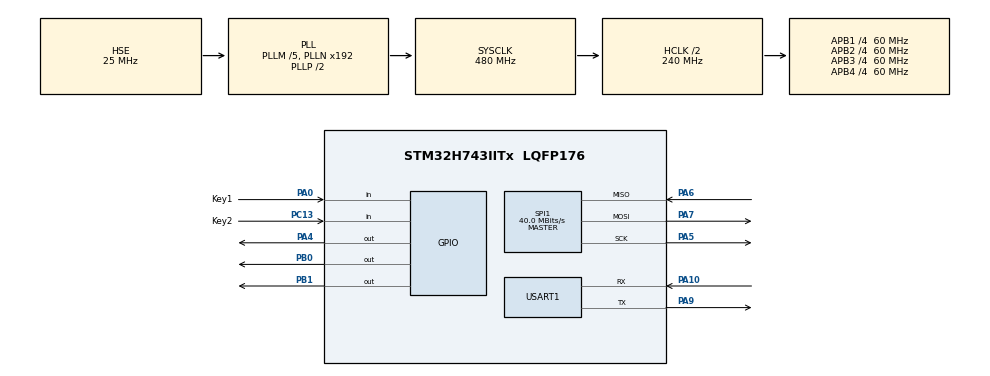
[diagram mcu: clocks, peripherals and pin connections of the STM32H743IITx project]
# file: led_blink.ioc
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CORTEX_M7.default_mode_Activation=1
Dma.Request0=SPI1_TX
Dma.SPI1_TX.0.Direction=DMA_MEMORY_TO_PERIPH
Dma.SPI1_TX.0.EventEnable=DISABLE
Dma.SPI1_TX.0.FIFOMode=DMA_FIFOMODE_DISABLE
Dma.SPI1_TX.0.Instance=DMA1_Stream0
Dma.SPI1_TX.0.MemDataAlignment=DMA_MDATAALIGN_BYTE
Dma.SPI1_TX.0.MemInc=DMA_MINC_ENABLE
Dma.SPI1_TX.0.Mode=DMA_NORMAL
Dma.SPI1_TX.0.PeriphDataAlignment=DMA_PDATAALIGN_BYTE
Dma.SPI1_TX.0.PeriphInc=DMA_PINC_DISABLE
Dma.SPI1_TX.0.Polarity=HAL_DMAMUX_REQ_GEN_RISING
Dma.SPI1_TX.0.Priority=DMA_PRIORITY_LOW
Dma.SPI1_TX.0.RequestNumber=1
Dma.SPI1_TX.0.SignalID=NONE
Dma.SPI1_TX.0.SyncEnable=DISABLE
Dma.SPI1_TX.0.SyncPolarity=HAL_DMAMUX_SYNC_NO_EVENT
Dma.SPI1_TX.0.SyncRequestNumber=1
Dma.SPI1_TX.0.SyncSignalID=NONE
Mcu.Family=STM32H7
Mcu.Name=STM32H743IITx
Mcu.Package=LQFP176
NVIC.DMA1_Stream0_IRQn=true\:0\:0\:false\:false\:true\:false\:true\:true
NVIC.PriorityGroup=NVIC_PRIORITYGROUP_4
NVIC.SPI1_IRQn=true\:0\:0\:false\:false\:true\:false\:true\:true
PA0.GPIO_Label=Key1
PA0.GPIO_PuPd=GPIO_PULLDOWN
PA0.Signal=GPIO_Input
PA10.Mode=Asynchronous
PA10.Signal=USART1_RX
PA4.GPIO_Speed=GPIO_SPEED_FREQ_MEDIUM
PA4.Signal=GPIO_Output
PA5.GPIO_Speed=GPIO_SPEED_FREQ_VERY_HIGH
PA5.Mode=Full_Duplex_Master
PA5.Signal=SPI1_SCK
PA6.GPIO_Speed=GPIO_SPEED_FREQ_VERY_HIGH
PA6.Mode=Full_Duplex_Master
PA6.Signal=SPI1_MISO
PA7.GPIO_Speed=GPIO_SPEED_FREQ_VERY_HIGH
PA7.Mode=Full_Duplex_Master
PA7.Signal=SPI1_MOSI
PA9.Mode=Asynchronous
PA9.Signal=USART1_TX
PB0.GPIO_Speed=GPIO_SPEED_FREQ_MEDIUM
PB0.Signal=GPIO_Output
PB1.Signal=GPIO_Output
PC13.GPIO_Label=Key2
PC13.GPIO_PuPd=GPIO_PULLDOWN
PC13.Signal=GPIO_Input
PH0-OSC_IN\ (PH0).Mode=HSE-External-Oscillator
PH0-OSC_IN\ (PH0).Signal=RCC_OSC_IN
PH1-OSC_OUT\ (PH1).Mode=HSE-External-Oscillator
PH1-OSC_OUT\ (PH1).Signal=RCC_OSC_OUT
ProjectManager.HeapSize=0x200
ProjectManager.StackSize=0x2000
ProjectManager.TargetToolchain=CMake
RCC.ADCFreq_Value=96000000
RCC.APB1Freq_Value=60000000
RCC.APB2Freq_Value=60000000
RCC.APB3Freq_Value=60000000
RCC.APB4Freq_Value=60000000
RCC.CortexFreq_Value=480000000
RCC.D1PPRE=RCC_APB3_DIV4
RCC.D2PPRE1=RCC_APB1_DIV4
RCC.D2PPRE2=RCC_APB2_DIV4
RCC.D3PPRE=RCC_APB4_DIV4
RCC.DIVM1=5
RCC.DIVM2=5
RCC.DIVM3=4
RCC.DIVN1=192
RCC.DIVN2=192
RCC.DIVN3=4
RCC.DIVP2=10
RCC.DIVQ1=12
RCC.EnbaleCSS=true
RCC.HCLKFreq_Value=240000000
RCC.HPRE=RCC_HCLK_DIV2
RCC.HSE_VALUE=25000000
RCC.PLLFRACN=0
RCC.PLLSourceVirtual=RCC_PLLSOURCE_HSE
RCC.SYSCLKFreq_VALUE=480000000
RCC.SYSCLKSource=RCC_SYSCLKSOURCE_PLLCLK
RCC.USBFreq_Value=80000000
SPI1.BaudRatePrescaler=SPI_BAUDRATEPRESCALER_2
SPI1.CalculateBaudRate=40.0 MBits/s
SPI1.DataSize=SPI_DATASIZE_8BIT
SPI1.Direction=SPI_DIRECTION_2LINES
SPI1.Mode=SPI_MODE_MASTER
SPI1.NSSPMode=SPI_NSS_PULSE_DISABLE
SPI1.VirtualType=VM_MASTER
USART1.VirtualMode-Asynchronous=VM_ASYNC
VP_MEMORYMAP_VS_MEMORYMAP.Mode=CurAppReg
board=custom

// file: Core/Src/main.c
/* USER CODE BEGIN Header */
/**
  ******************************************************************************
  * @file           : main.c
  * @brief          : Main program body
  ******************************************************************************
  * @attention
  *
  * Copyright (c) 2026 STMicroelectronics.
  * All rights reserved.
  *
  * This software is licensed under terms that can be found in the LICENSE file
  * in the root directory of this software component.
  * If no LICENSE file comes with this software, it is provided AS-IS.
  *
  ******************************************************************************
  */
/* USER CODE END Header */
#include "main.h"

/* USER CODE BEGIN Includes */
#include <string.h>
/* USER CODE END Includes */

SPI_HandleTypeDef hspi1;
DMA_HandleTypeDef hdma_spi1_tx;

UART_HandleTypeDef huart1;

void SystemClock_Config(void);
static void MPU_Config(void);
static void MX_GPIO_Init(void);
static void MX_DMA_Init(void);
static void MX_USART1_UART_Init(void);
static void MX_SPI1_Init(void);
/* USER CODE BEGIN PFP */
/* MCU 侧 C++ 入口与验证函数，用 extern "C" 导出以便 C 调用 */
extern void cppHello(void);
extern void gameMain(void);
/* USER CODE END PFP */

int main(void)
{

  /* MPU Configuration--------------------------------------------------------*/
  MPU_Config();

  /* MCU Configuration--------------------------------------------------------*/

  /* Reset of all peripherals, Initializes the Flash interface and the Systick. */
  HAL_Init();

  /* Configure the system clock */
  SystemClock_Config();

  /* Initialize all configured peripherals */
  MX_GPIO_Init();
  MX_DMA_Init();
  MX_USART1_UART_Init();
  MX_SPI1_Init();
  /* USER CODE BEGIN 2 */
  const char *msg = "Hello from H743!\r\n";
  HAL_UART_Transmit(&huart1, (uint8_t *)msg, strlen(msg), HAL_MAX_DELAY);
  cppHello();
  /* 构建时间戳：标记"这是哪一版固件"。
     用编译期常量（本板没配 RTC，拿不到运行时日期）。
     串口打出来的时间应与本次编译时间一致；不一致说明烧到了旧 hex。 */
  const char *buildStamp = "Build: " __DATE__ " " __TIME__ "\r\n";
  HAL_UART_Transmit(&huart1, (uint8_t *)buildStamp, strlen(buildStamp), HAL_MAX_DELAY);
  gameMain();
  /* USER CODE END 2 */

  /* Infinite loop */
  while (1)
  {

  }
}

void SystemClock_Config(void)
{
  RCC_OscInitTypeDef RCC_OscInitStruct = {0};
  RCC_ClkInitTypeDef RCC_ClkInitStruct = {0};

  /** Supply configuration update enable
  */
  HAL_PWREx_ConfigSupply(PWR_LDO_SUPPLY);

  /** Configure the main internal regulator output voltage
  */
  __HAL_PWR_VOLTAGESCALING_CONFIG(PWR_REGULATOR_VOLTAGE_SCALE0);

  while(!__HAL_PWR_GET_FLAG(PWR_FLAG_VOSRDY)) {}

  /** Initializes the RCC Oscillators according to the specified parameters
  * in the RCC_OscInitTypeDef structure.
  */
  RCC_OscInitStruct.OscillatorType = RCC_OSCILLATORTYPE_HSE;
  RCC_OscInitStruct.HSEState = RCC_HSE_ON;
  RCC_OscInitStruct.PLL.PLLState = RCC_PLL_ON;
  RCC_OscInitStruct.PLL.PLLSource = RCC_PLLSOURCE_HSE;
  RCC_OscInitStruct.PLL.PLLM = 5;
  RCC_OscInitStruct.PLL.PLLN = 192;
  RCC_OscInitStruct.PLL.PLLP = 2;
  RCC_OscInitStruct.PLL.PLLQ = 12;
  RCC_OscInitStruct.PLL.PLLR = 2;
  RCC_OscInitStruct.PLL.PLLRGE = RCC_PLL1VCIRANGE_2;
  RCC_OscInitStruct.PLL.PLLVCOSEL = RCC_PLL1VCOWIDE;
  RCC_OscInitStruct.PLL.PLLFRACN = 0;
  if (HAL_RCC_OscConfig(&RCC_OscInitStruct) != HAL_OK)
  {
    Error_Handler();
  }

  /** Initializes the CPU, AHB and APB buses clocks
  */
  RCC_ClkInitStruct.ClockType = RCC_CLOCKTYPE_HCLK|RCC_CLOCKTYPE_SYSCLK
                              |RCC_CLOCKTYPE_PCLK1|RCC_CLOCKTYPE_PCLK2
                              |RCC_CLOCKTYPE_D3PCLK1|RCC_CLOCKTYPE_D1PCLK1;
  RCC_ClkInitStruct.SYSCLKSource = RCC_SYSCLKSOURCE_PLLCLK;
  RCC_ClkInitStruct.SYSCLKDivider = RCC_SYSCLK_DIV1;
  RCC_ClkInitStruct.AHBCLKDivider = RCC_HCLK_DIV2;
  RCC_ClkInitStruct.APB3CLKDivider = RCC_APB3_DIV4;
  RCC_ClkInitStruct.APB1CLKDivider = RCC_APB1_DIV4;
  RCC_ClkInitStruct.APB2CLKDivider = RCC_APB2_DIV4;
  RCC_ClkInitStruct.APB4CLKDivider = RCC_APB4_DIV4;

  if (HAL_RCC_ClockConfig(&RCC_ClkInitStruct, FLASH_LATENCY_4) != HAL_OK)
  {
    Error_Handler();
  }

  /** Enables the Clock Security System
  */
  HAL_RCC_EnableCSS();
}

static void MX_SPI1_Init(void)
{

  /* SPI1 parameter configuration*/
  hspi1.Instance = SPI1;
  hspi1.Init.Mode = SPI_MODE_MASTER;
  hspi1.Init.Direction = SPI_DIRECTION_2LINES;
  hspi1.Init.DataSize = SPI_DATASIZE_8BIT;
  hspi1.Init.CLKPolarity = SPI_POLARITY_LOW;
  hspi1.Init.CLKPhase = SPI_PHASE_1EDGE;
  hspi1.Init.NSS = SPI_NSS_SOFT;
  hspi1.Init.BaudRatePrescaler = SPI_BAUDRATEPRESCALER_2;
  hspi1.Init.FirstBit = SPI_FIRSTBIT_MSB;
  hspi1.Init.TIMode = SPI_TIMODE_DISABLE;
  hspi1.Init.CRCCalculation = SPI_CRCCALCULATION_DISABLE;
  hspi1.Init.CRCPolynomial = 0x0;
  hspi1.Init.NSSPMode = SPI_NSS_PULSE_DISABLE;
  hspi1.Init.NSSPolarity = SPI_NSS_POLARITY_LOW;
  hspi1.Init.FifoThreshold = SPI_FIFO_THRESHOLD_01DATA;
  hspi1.Init.TxCRCInitializationPattern = SPI_CRC_INITIALIZATION_ALL_ZERO_PATTERN;
  hspi1.Init.RxCRCInitializationPattern = SPI_CRC_INITIALIZATION_ALL_ZERO_PATTERN;
  hspi1.Init.MasterSSIdleness = SPI_MASTER_SS_IDLENESS_00CYCLE;
  hspi1.Init.MasterInterDataIdleness = SPI_MASTER_INTERDATA_IDLENESS_00CYCLE;
  hspi1.Init.MasterReceiverAutoSusp = SPI_MASTER_RX_AUTOSUSP_DISABLE;
  hspi1.Init.MasterKeepIOState = SPI_MASTER_KEEP_IO_STATE_DISABLE;
  hspi1.Init.IOSwap = SPI_IO_SWAP_DISABLE;
  if (HAL_SPI_Init(&hspi1) != HAL_OK)
  {
    Error_Handler();
  }

}

static void MX_USART1_UART_Init(void)
{

  huart1.Instance = USART1;
  huart1.Init.BaudRate = 115200;
  huart1.Init.WordLength = UART_WORDLENGTH_8B;
  huart1.Init.StopBits = UART_STOPBITS_1;
  huart1.Init.Parity = UART_PARITY_NONE;
  huart1.Init.Mode = UART_MODE_TX_RX;
  huart1.Init.HwFlowCtl = UART_HWCONTROL_NONE;
  huart1.Init.OverSampling = UART_OVERSAMPLING_16;
  huart1.Init.OneBitSampling = UART_ONE_BIT_SAMPLE_DISABLE;
  huart1.Init.ClockPrescaler = UART_PRESCALER_DIV1;
  huart1.AdvancedInit.AdvFeatureInit = UART_ADVFEATURE_NO_INIT;
  if (HAL_UART_Init(&huart1) != HAL_OK)
  {
    Error_Handler();
  }
  if (HAL_UARTEx_SetTxFifoThreshold(&huart1, UART_TXFIFO_THRESHOLD_1_8) != HAL_OK)
  {
    Error_Handler();
  }
  if (HAL_UARTEx_SetRxFifoThreshold(&huart1, UART_RXFIFO_THRESHOLD_1_8) != HAL_OK)
  {
    Error_Handler();
  }
  if (HAL_UARTEx_DisableFifoMode(&huart1) != HAL_OK)
  {
    Error_Handler();
  }

}

static void MX_DMA_Init(void)
{

  /* DMA controller clock enable */
  __HAL_RCC_DMA1_CLK_ENABLE();

  /* DMA interrupt init */
  /* DMA1_Stream0_IRQn interrupt configuration */
  HAL_NVIC_SetPriority(DMA1_Stream0_IRQn, 0, 0);
  HAL_NVIC_EnableIRQ(DMA1_Stream0_IRQn);

}

static void MX_GPIO_Init(void)
{
  GPIO_InitTypeDef GPIO_InitStruct = {0};

  /* GPIO Ports Clock Enable */
  __HAL_RCC_GPIOC_CLK_ENABLE();
  __HAL_RCC_GPIOH_CLK_ENABLE();
  __HAL_RCC_GPIOA_CLK_ENABLE();
  __HAL_RCC_GPIOB_CLK_ENABLE();

  /*Configure GPIO pin Output Level */
  HAL_GPIO_WritePin(GPIOA, GPIO_PIN_4, GPIO_PIN_RESET);

  /*Configure GPIO pin Output Level */
  HAL_GPIO_WritePin(GPIOB, GPIO_PIN_0|GPIO_PIN_1, GPIO_PIN_RESET);

  /*Configure GPIO pin : Key2_Pin */
  GPIO_InitStruct.Pin = Key2_Pin;
  GPIO_InitStruct.Mode = GPIO_MODE_INPUT;
  GPIO_InitStruct.Pull = GPIO_PULLDOWN;
  HAL_GPIO_Init(Key2_GPIO_Port, &GPIO_InitStruct);

  /*Configure GPIO pin : Key1_Pin */
  GPIO_InitStruct.Pin = Key1_Pin;
  GPIO_InitStruct.Mode = GPIO_MODE_INPUT;
  GPIO_InitStruct.Pull = GPIO_PULLDOWN;
  HAL_GPIO_Init(Key1_GPIO_Port, &GPIO_InitStruct);

  /*Configure GPIO pin : PA4 */
  GPIO_InitStruct.Pin = GPIO_PIN_4;
  GPIO_InitStruct.Mode = GPIO_MODE_OUTPUT_PP;
  GPIO_InitStruct.Pull = GPIO_NOPULL;
  GPIO_InitStruct.Speed = GPIO_SPEED_FREQ_MEDIUM;
  HAL_GPIO_Init(GPIOA, &GPIO_InitStruct);

  /*Configure GPIO pin : PB0 */
  GPIO_InitStruct.Pin = GPIO_PIN_0;
  GPIO_InitStruct.Mode = GPIO_MODE_OUTPUT_PP;
  GPIO_InitStruct.Pull = GPIO_NOPULL;
  GPIO_InitStruct.Speed = GPIO_SPEED_FREQ_MEDIUM;
  HAL_GPIO_Init(GPIOB, &GPIO_InitStruct);

  /*Configure GPIO pin : PB1 */
  GPIO_InitStruct.Pin = GPIO_PIN_1;
  GPIO_InitStruct.Mode = GPIO_MODE_OUTPUT_PP;
  GPIO_InitStruct.Pull = GPIO_NOPULL;
  GPIO_InitStruct.Speed = GPIO_SPEED_FREQ_LOW;
  HAL_GPIO_Init(GPIOB, &GPIO_InitStruct);

  /* USER CODE BEGIN MX_GPIO_Init_2 */
  /* CS (PA4) and DC (PB0) are toggled in between 40 MHz SCK bursts, so the
     Medium speed setting (~25 MHz rated) is too slow: the DC edge at a
     command/data boundary can still be transitioning when the panel samples it,
     which makes the panel parse command bytes as data (and vice versa). That
     shows up as horizontal colour stripes from a solid-colour frame, and as the
     panel's vertical-scroll register being written by a stray data byte.

     Raise CS/DC (and the reset line, for consistency) to the fastest slew rate.
     This block is inside USER CODE, so CubeMX regeneration keeps it. */
  GPIO_InitStruct.Pin = GPIO_PIN_4;
  GPIO_InitStruct.Mode = GPIO_MODE_OUTPUT_PP;
  GPIO_InitStruct.Pull = GPIO_NOPULL;
  GPIO_InitStruct.Speed = GPIO_SPEED_FREQ_VERY_HIGH;
  HAL_GPIO_Init(GPIOA, &GPIO_InitStruct);

  GPIO_InitStruct.Pin = GPIO_PIN_0;
  GPIO_InitStruct.Mode = GPIO_MODE_OUTPUT_PP;
  GPIO_InitStruct.Pull = GPIO_NOPULL;
  GPIO_InitStruct.Speed = GPIO_SPEED_FREQ_VERY_HIGH;
  HAL_GPIO_Init(GPIOB, &GPIO_InitStruct);

  GPIO_InitStruct.Pin = GPIO_PIN_1;
  GPIO_InitStruct.Mode = GPIO_MODE_OUTPUT_PP;
  GPIO_InitStruct.Pull = GPIO_NOPULL;
  GPIO_InitStruct.Speed = GPIO_SPEED_FREQ_VERY_HIGH;
  HAL_GPIO_Init(GPIOB, &GPIO_InitStruct);
  /* USER CODE END MX_GPIO_Init_2 */
}

 /* MPU Configuration */

void MPU_Config(void)
{
  MPU_Region_InitTypeDef MPU_InitStruct = {0};

  /* Disables the MPU */
  HAL_MPU_Disable();

  /** Initializes and configures the Region and the memory to be protected
  */
  MPU_InitStruct.Enable = MPU_REGION_ENABLE;
  MPU_InitStruct.Number = MPU_REGION_NUMBER0;
  MPU_InitStruct.BaseAddress = 0x0;
  MPU_InitStruct.Size = MPU_REGION_SIZE_4GB;
  MPU_InitStruct.SubRegionDisable = 0x87;
  MPU_InitStruct.TypeExtField = MPU_TEX_LEVEL0;
  MPU_InitStruct.AccessPermission = MPU_REGION_NO_ACCESS;
  MPU_InitStruct.DisableExec = MPU_INSTRUCTION_ACCESS_DISABLE;
  MPU_InitStruct.IsShareable = MPU_ACCESS_SHAREABLE;
  MPU_InitStruct.IsCacheable = MPU_ACCESS_NOT_CACHEABLE;
  MPU_InitStruct.IsBufferable = MPU_ACCESS_NOT_BUFFERABLE;

  HAL_MPU_ConfigRegion(&MPU_InitStruct);
  /* Enables the MPU */
  HAL_MPU_Enable(MPU_PRIVILEGED_DEFAULT);

}

void Error_Handler(void)
{
  __disable_irq();
  while (1)
  {
  }
}
